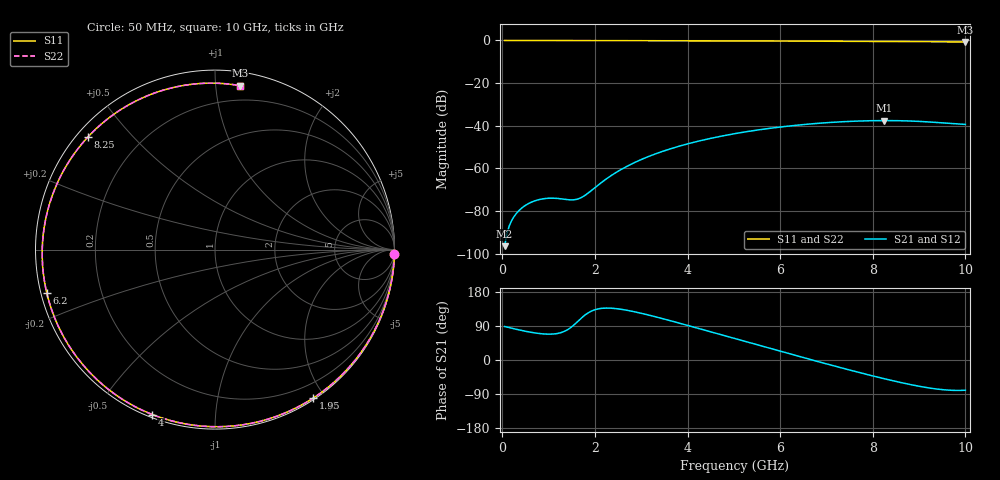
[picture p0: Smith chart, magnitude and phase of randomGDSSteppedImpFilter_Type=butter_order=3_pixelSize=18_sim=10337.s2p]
! freq	dB(S11)	phase(S11)	dB(S12)	phase(S12)
!  dB(S21)	phase(S21)	dB(S22)	phase(S22)
!S-par simulation data
#  GHz  S  DB  R 50
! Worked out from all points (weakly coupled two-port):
!   200 points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, 50 MHz to 10 GHz, reference 50 ohm
!   highest |S21| = -37.58 dB at 8.25 GHz (marker M1); lowest = -96.5 dB at 50 MHz (marker M2)
!   lowest |S11| = -0.7 dB at 10 GHz (marker M3), VSWR 25.30, Z = 4.65 + j58 ohm
!   |S11| at or under -10 dB: nowhere
!   |S22| runs from -0.7 to 0.0 dB; largest |S21 - S12| = 0
!   S11 on the Smith chart (normalised r, x): 50 MHz: 0, -76; 1.95 GHz: 0.02, -1.86; 4 GHz: 0.01, -0.69; 6.2 GHz: 0.02, -0.13; 8.25 GHz: 0.03, +0.38; 10 GHz: 0.09, +1.16
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0.05  -0.00 -1.5  -96.48 88.5  -96.48 88.5  -0.00 -1.5
0.35  -0.01 -10.5  -80.01 79.7  -80.01 79.7  -0.01 -10.5
0.55  -0.02 -16.4  -76.69 74.7  -76.69 74.7  -0.02 -16.4
0.85  -0.03 -25.2  -74.38 69.2  -74.38 69.2  -0.03 -25.2
1.1  -0.04 -32.4  -73.97 68.6  -73.97 68.6  -0.04 -32.4
1.55  -0.06 -45.3  -74.72 92.8  -74.72 92.8  -0.06 -45.3
1.75  -0.06 -51.0  -73.15 115.1  -73.15 115.1  -0.06 -51.0
1.95  -0.07 -56.6  -69.93 130.4  -69.93 130.4  -0.07 -56.6
2.3  -0.08 -66.3  -64.13 137.0  -64.13 137.0  -0.08 -66.3
2.6  -0.09 -74.4  -60.10 133.2  -60.10 133.2  -0.09 -74.4
3.4  -0.12 -95.5  -52.47 111.1  -52.47 111.1  -0.12 -95.5
4  -0.15 -110.8  -48.51 91.3  -48.51 91.3  -0.15 -110.8
5.05  -0.20 -136.9  -43.60 55.5  -43.60 55.5  -0.20 -136.9
5.65  -0.24 -151.8  -41.58 35.0  -41.58 35.0  -0.24 -151.8
6.2  -0.28 -165.6  -40.12 16.4  -40.12 16.4  -0.28 -165.6
6.7  -0.33 -178.4  -39.07 -0.3  -39.07 -0.3  -0.33 -178.4
7.5  -0.40 160.1  -37.96 -26.4  -37.96 -26.4  -0.40 160.1
8.25  -0.48 138.5  -37.58 -49.5  -37.58 -49.5  -0.48 138.5
8.35  -0.49 135.5  -37.58 -52.4  -37.58 -52.4  -0.49 135.5
9.25  -0.60 107.0  -38.27 -74.4  -38.27 -74.4  -0.60 107.0
9.65  -0.64 93.5  -38.91 -79.7  -38.91 -79.7  -0.64 93.5
10  -0.69 81.3  -39.39 -79.7  -39.39 -79.7  -0.69 81.3
